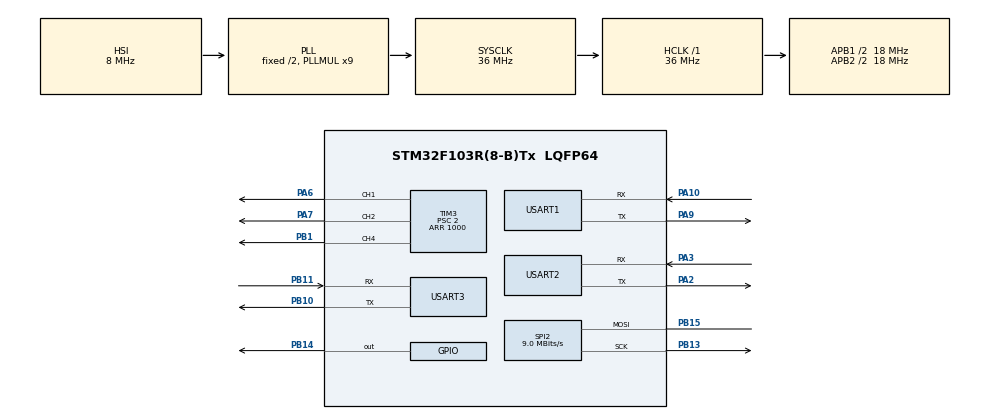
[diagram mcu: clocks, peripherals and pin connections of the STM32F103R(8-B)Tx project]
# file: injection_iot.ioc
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Mcu.Family=STM32F1
Mcu.Name=STM32F103R(8-B)Tx
Mcu.Package=LQFP64
NVIC.PriorityGroup=NVIC_PRIORITYGROUP_4
NVIC.TIM1_CC_IRQn=true\:0\:0\:false\:false\:true\:true
NVIC.TIM2_IRQn=true\:0\:0\:false\:false\:true\:true
NVIC.USART1_IRQn=true\:0\:0\:false\:false\:true\:true
NVIC.USART2_IRQn=true\:0\:0\:false\:false\:true\:true
NVIC.USART3_IRQn=true\:0\:0\:false\:false\:true\:true
PA10.Mode=Asynchronous
PA10.Signal=USART1_RX
PA2.Mode=Asynchronous
PA2.Signal=USART2_TX
PA3.Mode=Asynchronous
PA3.Signal=USART2_RX
PA6.Signal=S_TIM3_CH1
PA7.Signal=S_TIM3_CH2
PA9.Mode=Asynchronous
PA9.Signal=USART1_TX
PB1.Signal=S_TIM3_CH4
PB10.Mode=Asynchronous
PB10.Signal=USART3_TX
PB11.Mode=Asynchronous
PB11.Signal=USART3_RX
PB13.Mode=Simplex_Bidirectional_Master
PB13.Signal=SPI2_SCK
PB14.Signal=GPIO_Output
PB15.Mode=Simplex_Bidirectional_Master
PB15.Signal=SPI2_MOSI
PD0-OSC_IN.Mode=HSE-External-Oscillator
PD0-OSC_IN.Signal=RCC_OSC_IN
PD1-OSC_OUT.Mode=HSE-External-Oscillator
PD1-OSC_OUT.Signal=RCC_OSC_OUT
ProjectManager.HeapSize=0x200
ProjectManager.StackSize=0x400
ProjectManager.TargetToolchain=SW4STM32
RCC.AHBFreq_Value=36000000
RCC.APB1CLKDivider=RCC_HCLK_DIV2
RCC.APB1Freq_Value=18000000
RCC.APB1TimFreq_Value=36000000
RCC.APB2CLKDivider=RCC_HCLK_DIV2
RCC.APB2Freq_Value=18000000
RCC.APB2TimFreq_Value=36000000
RCC.HCLKFreq_Value=36000000
RCC.PLLMUL=RCC_PLL_MUL9
RCC.SYSCLKFreq_VALUE=36000000
RCC.SYSCLKSource=RCC_SYSCLKSOURCE_PLLCLK
RCC.USBFreq_Value=36000000
SH.S_TIM3_CH1.0=TIM3_CH1,PWM Generation1 CH1
SH.S_TIM3_CH2.0=TIM3_CH2,PWM Generation2 CH2
SH.S_TIM3_CH4.0=TIM3_CH4,PWM Generation4 CH4
SPI2.CalculateBaudRate=9.0 MBits/s
SPI2.Direction=SPI_DIRECTION_1LINE
SPI2.Mode=SPI_MODE_MASTER
SPI2.VirtualType=VM_MASTER
TIM1.Channel-Output\ Compare1\ No\ Output=TIM_CHANNEL_1
TIM1.Period=1000
TIM1.Prescaler=8000
TIM1.Pulse-Output\ Compare1\ No\ Output=500
TIM2.Channel-Output\ Compare1\ No\ Output=TIM_CHANNEL_1
TIM2.Period=1000
TIM2.Prescaler=8000
TIM2.Pulse-Output\ Compare1\ No\ Output=250
TIM3.Channel-PWM\ Generation1\ CH1=TIM_CHANNEL_1
TIM3.Channel-PWM\ Generation2\ CH2=TIM_CHANNEL_2
TIM3.Channel-PWM\ Generation3\ No\ Output=TIM_CHANNEL_3
TIM3.Channel-PWM\ Generation4\ CH4=TIM_CHANNEL_4
TIM3.Period=1000
TIM3.Prescaler=2
TIM3.Pulse-PWM\ Generation1\ CH1=250
TIM3.Pulse-PWM\ Generation2\ CH2=500
TIM3.Pulse-PWM\ Generation3\ No\ Output=100
TIM3.Pulse-PWM\ Generation4\ CH4=750
USART1.VirtualMode=VM_ASYNC
USART2.VirtualMode=VM_ASYNC
USART3.VirtualMode=VM_ASYNC
VP_SYS_VS_ND.Mode=No_Debug
VP_TIM1_VS_ClockSourceINT.Mode=Internal
VP_TIM1_VS_no_output1.Mode=Output Compare1 No Output
VP_TIM2_VS_ClockSourceINT.Mode=Internal
VP_TIM2_VS_no_output1.Mode=Output Compare1 No Output
VP_TIM3_VS_ClockSourceINT.Mode=Internal
VP_TIM3_VS_no_output3.Mode=PWM Generation3 No Output
board=custom

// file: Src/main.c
/**
 ******************************************************************************
 * @file           : main.c
 * @brief          : Main program body
 ******************************************************************************
 ** This notice applies to any and all portions of this file
 * that are not between comment pairs USER CODE BEGIN and
 * USER CODE END. Other portions of this file, whether
 * inserted by the user or by software development tools
 * are owned by their respective copyright owners.
 *
 * COPYRIGHT(c) 2018 STMicroelectronics
 *
 * Redistribution and use in source and binary forms, with or without modification,
 * are permitted provided that the following conditions are met:
 *   1. Redistributions of source code must retain the above copyright notice,
 *      this list of conditions and the following disclaimer.
 *   2. Redistributions in binary form must reproduce the above copyright notice,
 *      this list of conditions and the following disclaimer in the documentation
 *      and/or other materials provided with the distribution.
 *   3. Neither the name of STMicroelectronics nor the names of its contributors
 *      may be used to endorse or promote products derived from this software
 *      without specific prior written permission.
 *
 * THIS SOFTWARE IS PROVIDED BY THE COPYRIGHT HOLDERS AND CONTRIBUTORS "AS IS"
 * AND ANY EXPRESS OR IMPLIED WARRANTIES, INCLUDING, BUT NOT LIMITED TO, THE
 * IMPLIED WARRANTIES OF MERCHANTABILITY AND FITNESS FOR A PARTICULAR PURPOSE ARE
 * DISCLAIMED. IN NO EVENT SHALL THE COPYRIGHT HOLDER OR CONTRIBUTORS BE LIABLE
 * FOR ANY DIRECT, INDIRECT, INCIDENTAL, SPECIAL, EXEMPLARY, OR CONSEQUENTIAL
 * DAMAGES (INCLUDING, BUT NOT LIMITED TO, PROCUREMENT OF SUBSTITUTE GOODS OR
 * SERVICES; LOSS OF USE, DATA, OR PROFITS; OR BUSINESS INTERRUPTION) HOWEVER
 * CAUSED AND ON ANY THEORY OF LIABILITY, WHETHER IN CONTRACT, STRICT LIABILITY,
 * OR TORT (INCLUDING NEGLIGENCE OR OTHERWISE) ARISING IN ANY WAY OUT OF THE USE
 * OF THIS SOFTWARE, EVEN IF ADVISED OF THE POSSIBILITY OF SUCH DAMAGE.
 *
 ******************************************************************************
 */
#include "main.h"
#include "colormonitor.h"

#include "GlabalVar.h"
#include "stm32f1xx_hal.h"
#include "stm32f10x_type.h"
#include "ADS7816.h"
#include "Termo.h"
#include "stdio.h"

/* USER CODE BEGIN PV */
/* Private variables ---------------------------------------------------------*/
ErrorStatus HSEStartUpStatus;
u16 VarValue = 0;
//hal FLASH_Status FlashStatus;

/* Virtual address defined by the user: 0xFFFF value is prohibited */
//hal u16 VirtAddVarTab[NumbOfVar] = { 0x5555, 0x6666, 0x7777 };
unsigned char cun2, kd = 20, mmc_command = 0, mmc_respond, tempcommand;
unsigned long int hpriod;
unsigned long int avrage[6], tempreture[5];

unsigned char echostring[100];
unsigned int variable[10], recive, lowr, b0, b1, b2, b3, b4, b5, ruler2, in[8],
timebase, passcun;
unsigned char cul, row, keycode, s, number, oldpage, line, id[3], id_counter,
timediv, chanel;
bool lockkey, lockkey1, keypress, refresh, numberchange, action, automode,

finish, timeflag, autokey2, refresh2, ehteyatkey = 0, semiauto2, auto3,
mmc_key_active;
char temprecive, imagekey, timefull, hitreal, keywait,keycodelog;
unsigned char perv1, perv2, perv3, perv4, perv5, perv6, perv7, perv8, perv9,
perv10, perv11, perv12, perv13, perv14, perv19;
unsigned char speedehteyat, speedv1, speedv2, speedv3, speedv4, speedv5,

speedv6, speedv7, speedv8, speedv9, speedv10, speedv11, speedv12, speedv13,
speedv14, speedv19, timemax;
unsigned int ruler3p1, ruler3p2, ruler3p3, ruler3p4, ruler1p7, ruler1p4,

ruler1p5, ruler1p6, ruler2p4, ritime1, ritime2, ritime3, oiltime, totaltime,
timep, tedad;
unsigned char delay1, delay2, delay3, delay4, delay5, wait, pnum, timer1,
s4051 = 0, c4051 = 3;
bool silehteyat, mkeshact, pbri, pmri, pbri1, pmri1, mode, pepm1, pepm,

hightemp, timestart, govein, goveout, darbaz, darbasteh, auto4, fffk, numin;
/*flash*/unsigned char cyclea[] = { 14, 8, 1, 2, 3, 10, 9, 0, 11, 5, 6, 12, 4,
		6, 14, 7, 15 };
unsigned char reccun, ristate, bristate, i3old, oldlgr, oldlgf, yekst, tempp;
unsigned char rx_wr_index, rx_rd_index, rx_counter, outputa = 0, outputb = 0,
		outputc = 0, read1, read2, read3, speed, per, color_refresh;
int alaki2, errorc;
// This flag is set on USART Receiver buffer overflow
int rx_buffer_overflow, systemonleft, systemonright, beepcounter;
bool pmc, pmc1, pmo, pmo1, puf1, puf = 0, pub = 0, pub1, pgb = 0, pgb1, peb1,
		peb = 0, pef1, pef = 0, pco1, pco, pci1, pci = 0, rollswitch = 0,
		cycleex, mavad2, tempr1, oldi8;
int page, waitfortemp = 100, timer, timer2, hitok, ritime;
unsigned int ruler1, ruler1a, ruler3;
unsigned long int temptemp;

unsigned int secend, ruler1p2, ruler1p3, ruler1p1, ruler1m, ruler2m, ruler3m,
ruler2p1, ruler2p2, ruler2p3, oiltemp, delaycun;
unsigned char secbase, n, j, d2, memseg = 10, errorcode = 0, staten, oilnumber =
		0;
int z, x, y, x1, y1, m, v1 = 50, k, a, q, u, t, c, x1line = 15, x2line = 30,
		y1line = 16, y2line = 32, line2, conter;
unsigned long int temp;
unsigned char led, state, state2, delaytaghe;
bool temp111, pri1, pri, automatic, semiauto, protection, offbit, moto, oil,

hitteron, autokey, lock, lock1, hit1ok, hit2ok, hit3ok, hit4ok, hit5ok, lowtemp,
oilcycle, refresh3;
char soundf;

unsigned char outon[6], hss[] = { 10, 5, 1, 1, 1 }, selz[] = { 99, 85, 80, 60 },
		zone;
unsigned int add[] = { 5, 2, 5, 2, 1 }, mmc, mmcflag, justtest;
unsigned long int aaa;
unsigned long int hz[] = { 75, 80, 99, 100 };
unsigned int var[15][9], tempgo;
unsigned char sound[1][1], kvar, kflag, speed2, kkkk = 200;
//=========================================end of variables====================
//========================================constant variable====================

/*flash*/unsigned int dc[] = { 0, 0, 21, 21, 14, 12, 17, 12, 18, 18, 20, 10, 6,
		6, 5, 2 };

//========================================eeprom variables=====
/* eeprom*/unsigned long int maxcomponent;
/* eeprom*/unsigned long int t1cul, t2cul, t3cul, t4cul, t5cul;
/* eeprom*/int pass1, pass2, pass3, passtry, lock2;
/* eeprom*/int lockpos = 150, molpos = 170, s2pos = 250, s1pos = 700, limitrmo =
		800;
/* eeprom*/unsigned char lockspeed = 60, lockpre = 80, molprop = 60, molpros =
		120, s2 = 70, p2 = 60, s1 = 120, p1 = 60;
/* eeprom*/unsigned char memvar[132][24];
/* eeprom*/unsigned int maxruler1 = 255, maxruler2 = 300, maxruler3 = 300,
		marrid, whour = 100, ccunter;
/* eeprom*/unsigned int hour, hour1;

/*eeprom */unsigned int var2[16][22];

//=========================eeprom emoulation================================
u32 var_page_address;
u32 var_next_address;
u16 var2i = 16, var2j = 22;
u32 addresspage = 0x08010000; // start address of variable page address oft
//u32 addresspage=0x08011800;// start address of variable page address

char command[30], command_index = 0;
char beep;

int usart_buffer_index;
u8 usart_buffer[usart_buffer_size];

int RS485_buffer_index;
char RS485_buffer[RS485_buffer_size];

int Value;

char tempasd[70];
/* USER CODE END PV */

void SystemClock_Config(void);
static void MX_GPIO_Init(void);
static void MX_USART1_UART_Init(void);
static void MX_USART2_UART_Init(void);
static void MX_USART3_UART_Init(void);
static void MX_SPI2_Init(void);
static void MX_TIM3_Init(void);
static void MX_TIM1_Init(void);
static void MX_TIM2_Init(void);

void HAL_TIM_MspPostInit(TIM_HandleTypeDef *htim);

/* USER CODE BEGIN PFP */
/* Private function prototypes -----------------------------------------------*/

/* USER CODE END PFP */

int main(void) {
	/* USER CODE BEGIN 1 */
	int mADS;
	char h_mADS,l_mADS;
	uint16_t temp1,temp2,temp3;

#define localecho 1
	int gosfand;
	int alaki, i3i;
	char memactive;
	/*st float */float cul1, var1, var2a, cul;
	int kkkk = 200, i;

	char out1[2] ={0x55,0x55};
	char out2[2] ={0xaa,0xaa};

	char tempasd[30];
	u16 stt;
	u32 Address = 0x0801040f;
	/* USER CODE END 1 */

	/* MCU Configuration----------------------------------------------------------*/

	/* Reset of all peripherals, Initializes the Flash interface and the Systick. */
	HAL_Init();

	/* Configure the system clock */
	SystemClock_Config();

	/* Initialize all configured peripherals*/
	MX_GPIO_Init();
	MX_USART1_UART_Init();
	MX_USART2_UART_Init();
	MX_USART3_UART_Init();

	MX_TIM3_Init();
	MX_TIM1_Init();
	MX_TIM2_Init();
	/* USER CODE BEGIN 2*/
	Init_ADS7816();
	Init_Termo();
	HAL_TIM_Base_Start(&htim1);

	HAL_TIM_PWM_Start(&htim3, TIM_CHANNEL_1);
	HAL_TIM_PWM_Start(&htim3, TIM_CHANNEL_2);
	HAL_TIM_PWM_Start(&htim3, TIM_CHANNEL_4);
	HAL_TIM_Base_Start_IT(&htim1);
	HAL_TIM_Base_Start_IT(&htim2);

	jtag_Disable();

	__HAL_UART_ENABLE_IT(&huart1, UART_IT_RXNE);
	__HAL_UART_ENABLE_IT(&huart2, UART_IT_RXNE);
	__HAL_UART_ENABLE_IT(&huart2, UART_IT_TXE);
	MX_SPI2_Init();
//__HAL_uart_enable
//while(1){
    	// USART1->DR=55;
    	// HAL_Delay(500);

  //   }
	stt = 23;

	//send_string("br9600 delay\n");
	Value = 0;
	//halmemload();
	//FLASH_Unlock();

	goto ii;
	//oftsend_string("step1\n");
	//oft	FLASH_ProgramHalfWord((Address), 0xff0f);
	//FlashStatus = FLASH_ProgramHalfWord(Address + 2, VirtAddress);
	//oftsend_string("step2\n");
	//oft	stt = (*(vu16*)(Address));
	sprintf(tempasd, "\n%x", stt);

	send_string(tempasd);

	//oft	FLASH_ErasePage(Address+1);

	//oft	stt = (*(vu16*)(Address));
	sprintf(tempasd, "\n%x", stt);

	send_string(tempasd);
	ii:

	setChannel_Termo(0);
	HAL_Delay(220);
	temp1 = read_Temp();

	setChannel_Termo(1);
	HAL_Delay(220);
	temp2 = read_Temp();
 sprintf(tempasd,"termo:%c%d   %c%d\r\n",9,temp1,9,temp2);
	HAL_UART_Transmit(&huart1,tempasd,30, 500);

	mADS =read_ADS7816S(2);
	l_mADS = mADS & 0xff;
	h_mADS = mADS/256;
	sprintf(tempasd,"ruller: %x,%x\r\n",h_mADS,l_mADS);
	HAL_UART_Transmit(&huart1,tempasd, 10, 100);
	HAL_Delay(1000);

	HAL_TIM_PWM_Start(&htim3,TIM_CHANNEL_1);
	HAL_TIM_PWM_Start(&htim3,TIM_CHANNEL_2);
	HAL_TIM_PWM_Start(&htim3,TIM_CHANNEL_4);

		HAL_SPI_Transmit(&hspi2, out1, 2, 100);
		HAL_GPIO_WritePin(GPIOB, GPIO_PIN_14, GPIO_PIN_SET);
		HAL_Delay(1);
		HAL_GPIO_WritePin(GPIOB, GPIO_PIN_14, GPIO_PIN_RESET);
		HAL_Delay(500);
		HAL_SPI_Transmit(&hspi2, out2, 2, 100);
		HAL_GPIO_WritePin(GPIOB, GPIO_PIN_14, GPIO_PIN_SET);
		HAL_Delay(1);
		HAL_GPIO_WritePin(GPIOB, GPIO_PIN_14, GPIO_PIN_RESET);
		HAL_Delay(500);

	send_string("ver1.20180913.0.0");

    for(i=0;i<100;i++)
    {

	echo"\ndata at 1st page is :%x",*(vu16*)(addresspage),*(vu16*)(addresspage+(i*2)));
	sendecho;
     }
	/*
	 delay_ms(400);
	 int imehdi;

	 for(imehdi=0;imehdi<250;imehdi++){inc();delay_ms(10);
	 echo"imehdi :%d",imehdi);
	 sendecho;

	 }*/
	//vartomem();
	//for(stt=0;stt<280;stt++){update_var(stt,5);}
	// *ReadData = (*(vu16*)(Address - 2));
	//memload();
	//for(stt=0;stt<122;stt++){update_var(0,stt);}
	//while(1);
	//st cs=0;
	//st   UDR0=0;
	if (maxcomponent != 0)
		maxcomponent = 0;
	page = 0;
	alaki = 2000;
	write_ppi(0x80, 0x33);
	write_ppi(0x55, 0x30);
	write_ppi(0x0, 0x31);
	write_ppi(0xff, 0x32);
	write_ppi(0x9b, 0x03);	//initialize ppi for all port is input
	write_ppi(0, 0x60);
	write_ppi(0, 0x61);
	write_ppi(outputa, 0x30);
	write_ppi(outputb, 0x31);
	write_ppi(outputc, 0x32);

	imagekey = 255;
	semiauto = 0;
	calibration();
	oldpage = 1;
	page = 0;
	if (marrid != 1) {
		marrid = 1;
		//hal //st defalt();
	}
	temp = pass3 ^ 0xa55;
	mode = 0;
	oil = 0;
	alaki2 = 30;
	cun2 = 50;

	ftable();
	memactive = 1;
	oilnumber = 0;
	oilcycle = 1;
	oiltime = 0;
	if (pass1 == 3333)
		lock = 1;
	//oil = oil;
	protection = 1;
	semiauto = 0;
	automatic = 0;
	moto = 0;
	hitteron = 0;
	if (!i19)
		errorcode = 18;
	//oil = oil;
	protection = 1;
	semiauto = 0;
	automatic = 0;
	if (!i19)
		errorcode = 18;

	colorm();
	//while(1){RelayToggle1 RelayToggle delay_ms(10);}
	//farzin sendchar2('a');

	//DACDATA_HIGH ;delay_ms(50); DACDATA_LOW;delay_ms(20);}
	/* USER CODE END 2 */

	/* Infinite loop */
	while (1) {
		if (mmc_key_active && memactive) {
			// mmc_key_active=0;
			// if(comp_calibrate(0)!=100)save_calibrate(0);
			// if(comp_to_mmc(0)!=100)save_to_mmc(0);

			if (mmc_command == SAVE_TO_MMC) {
				//      mmc_respond=save_to_mmc(temp);
				//     if(mmc_respond){if(mmc_respond==2)var2[9][9]=3100;else var2[9][9]=3101;mmc_command=0;temp=0;}
				//       else {mmc_command=0;if(temp>1000)temp-=1000;var2[9][9]=temp;temp=0;}
				//       var2[9][9]=temp;
				//     mmc_command=0;
				//  temp=0;
			}
			if (mmc_command == LOAD_TO_MMC) {
				// mmc_respond=load_from_mmc(temp);
				// if(mmc_respond)var2[9][8]=3100+mmc_respond;else {var2[9][8]=temp;temp=0;}
				// mmc_command=0;
				// mmc_command=0;
				// var2[9][8]=temp;
				// `temp=0;

			}

		}

		if (var2[7][16] != oil)
			var2[7][16] = oil;
		if (maxcomponent > 120000)
			maxcomponent = 0;
		if (!i8) {
			if (errorc < 210)
				errorc++;

		} else
			errorc = 0;
		if (errorc > 200)
			errorcode = 6;

		if (page) {
			if (page != 9)
				if (temp > 999) {
					if (page != 11)
						temp = 0;
					if (!lockkey && !lockkey1)
						monitorn();
				}

		}

		/*     if(readflag>0){
		 if(kflag==1)
		 {
		 kflag=0;
		 SPCR|=0x50;
		 sendmmc(blocknumber);
		 blocknumber+=512;
		 //    if(blocknumber>=(firstblock[0]+(dx)))blocknumber=firstblock[0];
		 }
		 if(blocknumber>firstblock[0]+(readflag)*dx){readflag=0;TCCR0=0x00;}
		 }

		 */
		if (page == 13 || page == 14)
			if (!lockkey && !lockkey1)
				monitorn();
		if (keycode == 20 || keycode == 28)
			if (lockkey)
				if (keywait) {
					keywait--;
					if (!keywait)
						lockkey = 0;
				}
		if (page == 2 || page == 3) {

			putdigit_xy_space(23, 3, ruler1m, 0, 4);

		}
		if (page == 5) {
			putdigit_xy_space(23, 3, ruler2m, 0, 4);

		}
		if (page == 6) {

			putdigit_xy_space(23, 3, ruler2m, 0, 4);
		}
		if (!page) {

			putdigit_xy_space(1, 6, per, 0, 2);
			putdigit_xy_space(8, 6, speed, 0, 2);
			if (state2 == 4 || state2 == 3 || state2 == 5)
				putdigit_xy(1, 37, ritime, 1);

			else if (state2 == 14)
				putdigit_xy(1, 37, timefull, 0);
			else
				putdigit_xy(1, 37, timer, 1);

			putdigit_xy_space(1, 20, ruler1m, 0, 3);
			putdigit_xy_space(16, 20, ruler2m, 0, 3);
			putdigit_xy_space(16, 37, timemax, 1, 3);

			if (errorcode && !page)
				showpic_xy(errorcode, 0, 0);
			//if(temp)showpic_xy(temp,0,0);
			else if (state2 == 8 && timer) {
			} else {
				if (state2 && !page && state2 < 14) {
					showpic_xy(25 + state2, 15, 0);
					if (state2 == 4 && memseg < 4)
						putdigit_xy(20, 6, memseg, 0);
				}
			}

		}

		if (oil)
			state2 = 0;
		if (protection && !lockkey && state2) {
			state2 = 0;
			monitorn();
		}
		gosfand = var2[3][0] * 10;
		if (state == 5 && ritime > gosfand && !mavad2) {
			errorcode = 13;
			speed = 0;
			per = 0;
			pbri1 = 0;
			clrout6;
			clrout3;
			clrout17;

			//           protection=0;semiauto=0;automatic=0;oil=1; }
		}

		if (fffk) {

			if (!LGR && oldlgr) {
				if (var[9][8])
					if (semiauto || automatic) {
						auto4 = 1;
						fffk = 0;
					}
				oldlgr = LGR;
			} else
				oldlgr = LGR;
			if (!LGF && oldlgf) {
				if (var[9][7])
					if (semiauto || automatic) {
						auto4 = 1;
						fffk = 0;
					}
				oldlgf = LGF;
			} else
				oldlgf = LGF;
		} else {
			oldlgr = LGR;
			oldlgf = LGF;

		}

		if (!state) {
			if (auto4) {
				auto4 = 0;
				auto3 = 1;
			}

		}

		rollswitch = 0;
		if (!rollswitch) {
			//       ruler2=in[1];
			//     ruler1=in[0];
		} else {
			if (!LMO) {
				ruler1a = 1023;
			} else {
				if (!LMC) {
					ruler1a = 0;
				} else
					ruler1a = var[1][5] + 1;
			}
			if (outputa & 1)	  //gire basteh
			{
				// if(ruler1=var[0][2]+1;
				if (!i2)
					ruler1a = ruler1p1 - 1;
				if (i3old && !i3)
					ruler1a = ruler1p2 - 1;  //labeyetahriki3
				if (!i3old && i3)
					ruler1a = ruler1p3 - 1;
				//        i3old=i3;

			} else if (output & 2) {
				if (!i5)
					ruler1a = ruler1p5 - 1;
				if (!i4)
					ruler1a = ruler1p6 + 1;

			}
			//ruler1=ruler1a;  movaghat

			i3old = i3;

		}

		passcun++;
		if (passcun == 9999)
			passcun = 0;
		cul = maxruler1 + 1;
		var2a = (cul / 1023) * ruler1;

		ruler1m = var2a;

		cul = maxruler3 + 1;
		var2a = (cul / 1023) * ruler3;

		ruler3m = var2a;

		cul = maxruler2 + 1;
		var2a = (cul / 1023) * ruler2;

		ruler2m = var2a;
		// speed=speedv1;
		// per=perv1;

		if (!lockkey)
			hitreal = 0;
		// if(!timer && !finish){timer=10; finish=1;}

		//error sathroghan
		if (!i21)
			clrout24;
		if (!i19) {
			moto = 0;
			if (automatic || semiauto) {
				automatic = 0;
				semiauto = 0;
				errorcode = 18;
			}
		}
		//roghankari
		if (oilcycle) {
			if (oiltime > var[9][1] * 10) {
				clrout19;
				oilcycle = 0;
			} else
				setout19;
		} else
			clrout19;
		if (oilnumber == var[9][0]) {
			oilnumber = 0;
			oilcycle = 1;
			oiltime = 0;
		}
		//ghateshomar
		if (ccunter > var[9][3]) {
			if (oil)
				errorcode = 21;
		}
		//full auto
		if (i24 && (automatic || semiauto)) {
			automatic = 0;
			semiauto = 0;
			protection = 1;
		}
		//saat kar
		if (secbase >= 10) {
			//                              if(!beepcounter)beep=0;else beepcounter--;

			if (!i24)
				secend++;
			secbase = 0;
			if (state == 14)
				timefull++;
			else
				timefull = 0;
			//                            monitorn();
			//                              monitorn();
			//  if(statetotaltime
			if (errorcode) {
				beep = 1;
				beepcounter = 40;
			}

			if (secend == 3600) {
				secend = 0;

				hour++;
				hour1++;
				if (!lock2)
					maxcomponent += 12;

				// var[9][5]++;
				// tempgo=var2[4][9];
				if (hour == var2[9][5]) {
					errorcode = 19;
					protection = 0;
					semiauto = 0;
					automatic = 0;
					//oil = oil;
				}
				if (hour > var2[9][4])
					hour = 0;

			}
		}

		if (hour == var2[9][4] && oil)
			errorcode = 19;
		//   khataye taviz roghan
		if (automatic)
			semiauto = 1;
		if (auto3) {
			if (semiauto && !automatic) {
				semiauto2 = 1;
				auto3 = 0;
				finish = 1;
				state = 0;
				lockkey1 = 0;
				timer = 0;
			}

		}
		if (!automatic && !semiauto)
			auto3 = 0;
		/*  if(auto3 )
		 {

		 if(automatic)
		 {semiauto2=1;}
		 else
		 if(semiauto){semiauto2=1;auto3=0;}
		 else
		 auto3=0;
		 }
		 */
		if (!semiauto)
			semiauto2 = 0;
		if (alaki2 < 0) {
			if (hitteron)
				tempctl();	                               //st else PORTE=0xff;
			alaki2 = 100;
			avrage[0] += in[3];
			avrage[1] += in[4];
			avrage[2] += in[5];
			avrage[3] += in[6];
			avrage[4] += in[7];

			if (!cun2--) {
				if (page == 0 && !lockkey && !lockkey1)
					monitorn();
				cun2 = 50;
			}

			calibration();
			tempreture[0] = (avrage[0]/*st/50*/) + t1cul - 200;
			if (tempreture[0] > 1500)
				tempreture[0] = 0;
			tempreture[1] = (avrage[1]/*st/50*/) + t2cul - 200;
			if (tempreture[1] > 1500)
				tempreture[1] = 0;
			tempreture[2] = (avrage[2]/*/50*/) + t3cul - 200;
			if (tempreture[2] > 1500)
				tempreture[2] = 0;
			tempreture[3] = (avrage[3]/*/50*/) + t4cul - 200;
			if (tempreture[3] > 1500)
				tempreture[3] = 0;
			tempreture[4] = (avrage[4]/*/50*/) + t5cul - 200;// st as sampleing speed is too slow
			if (tempreture[4] > 1500)
				tempreture[4] = 0;
			avrage[0] = 0;
			avrage[1] = 0;
			avrage[2] = 0;
			avrage[3] = 0;
			avrage[4] = 0;
			//oft if(page==0 && !lockkey && !lockkey1) monitorn();
			//

		}

		alaki--;
		if (protection || oil)
			if (!lockkey && errorcode) {
				errorcode = 0;
				monitorn();
			}
		if (!alaki) {

			alaki = 501;
			temprecive = 5;
			if (page == 0)
				refresh = 1;

		}

		// if(keypress)
		//            {refresh=1;keypross();monitorn();keypress=0;    if(protection )if(!lockkey)errorcode=0;  ftable();}

		//if(keypress)
		//            {refresh=1;keypross();monitorn();keypress=0;    if(protection )if(!lockkey)errorcode=0;  ftable();}

		if (automode)
			statecontroll();

		cycleex = 1;
		cycle();
		cycleex = 0;

		led = automatic * 4 + 8 * semiauto + 128 * moto + oil * 2
				+ protection * 32 + hitteron * 64 + ehteyatkey * 16
				+ ehteyatkey;
		if (page)
			limit();
		if (refresh) {
			monitorn();
			refresh = 0;
		} else
			controll();

		if (refresh2 && !page) {
			refresh2 = 0;
			if (!lockkey && !lockkey1)
				monitorn();
		}

		if (refresh3) {
			monitorn();
			refresh3 = 0;
			ftable();
			calibration();
		}

		//PWR_EnterSleepMode();

		//hal delay_ms(1000);
	}

}

void SystemClock_Config(void) {

	RCC_OscInitTypeDef RCC_OscInitStruct;
	RCC_ClkInitTypeDef RCC_ClkInitStruct;

	/**Initializes the CPU, AHB and APB busses clocks
	 */
	RCC_OscInitStruct.OscillatorType = RCC_OSCILLATORTYPE_HSI;
	RCC_OscInitStruct.HSIState = RCC_HSI_ON;
	RCC_OscInitStruct.HSICalibrationValue = 16;
	RCC_OscInitStruct.PLL.PLLState = RCC_PLL_ON;
	RCC_OscInitStruct.PLL.PLLSource = RCC_PLLSOURCE_HSI_DIV2;
	RCC_OscInitStruct.PLL.PLLMUL = RCC_PLL_MUL9;
	if (HAL_RCC_OscConfig(&RCC_OscInitStruct) != HAL_OK) {
		_Error_Handler(__FILE__, __LINE__);
	}

	/**Initializes the CPU, AHB and APB busses clocks
	 */
	RCC_ClkInitStruct.ClockType = RCC_CLOCKTYPE_HCLK | RCC_CLOCKTYPE_SYSCLK
			| RCC_CLOCKTYPE_PCLK1 | RCC_CLOCKTYPE_PCLK2;
	RCC_ClkInitStruct.SYSCLKSource = RCC_SYSCLKSOURCE_PLLCLK;
	RCC_ClkInitStruct.AHBCLKDivider = RCC_SYSCLK_DIV1;
	RCC_ClkInitStruct.APB1CLKDivider = RCC_HCLK_DIV2;
	RCC_ClkInitStruct.APB2CLKDivider = RCC_HCLK_DIV2;

	if (HAL_RCC_ClockConfig(&RCC_ClkInitStruct, FLASH_LATENCY_1) != HAL_OK) {
		_Error_Handler(__FILE__, __LINE__);
	}

	/**Configure the Systick interrupt time
	 */
	HAL_SYSTICK_Config(HAL_RCC_GetHCLKFreq() / 1000);

	/**Configure the Systick
	 */
	HAL_SYSTICK_CLKSourceConfig(SYSTICK_CLKSOURCE_HCLK);

	/* SysTick_IRQn interrupt configuration */
	HAL_NVIC_SetPriority(SysTick_IRQn, 0, 0);
}

/* SPI2 init function */
static void MX_SPI2_Init(void) {

	/* SPI2 parameter configuration*/
	hspi2.Instance = SPI2;
	hspi2.Init.Mode = SPI_MODE_MASTER;
	hspi2.Init.Direction = SPI_DIRECTION_1LINE;
	hspi2.Init.DataSize = SPI_DATASIZE_8BIT;
	hspi2.Init.CLKPolarity = SPI_POLARITY_LOW;
	hspi2.Init.CLKPhase = SPI_PHASE_1EDGE;
	hspi2.Init.NSS = SPI_NSS_SOFT;
	hspi2.Init.BaudRatePrescaler = SPI_BAUDRATEPRESCALER_2;
	hspi2.Init.FirstBit = SPI_FIRSTBIT_MSB;
	hspi2.Init.TIMode = SPI_TIMODE_DISABLE;
	hspi2.Init.CRCCalculation = SPI_CRCCALCULATION_DISABLE;
	hspi2.Init.CRCPolynomial = 10;
	if (HAL_SPI_Init(&hspi2) != HAL_OK) {
		_Error_Handler(__FILE__, __LINE__);
	}

}

/* TIM1 init function */
static void MX_TIM1_Init(void) {

	TIM_ClockConfigTypeDef sClockSourceConfig;
	TIM_MasterConfigTypeDef sMasterConfig;
	TIM_OC_InitTypeDef sConfigOC;
	TIM_BreakDeadTimeConfigTypeDef sBreakDeadTimeConfig;

	htim1.Instance = TIM1;
	htim1.Init.Prescaler = 8000;
	htim1.Init.CounterMode = TIM_COUNTERMODE_UP;
	htim1.Init.Period = 1000;
	htim1.Init.ClockDivision = TIM_CLOCKDIVISION_DIV1;
	htim1.Init.RepetitionCounter =0;
	htim1.Init.AutoReloadPreload = TIM_AUTORELOAD_PRELOAD_DISABLE;
	if (HAL_TIM_Base_Init(&htim1) != HAL_OK) {
		_Error_Handler(__FILE__, __LINE__);
	}

	sClockSourceConfig.ClockSource = TIM_CLOCKSOURCE_INTERNAL;
	if (HAL_TIM_ConfigClockSource(&htim1, &sClockSourceConfig) != HAL_OK) {
		_Error_Handler(__FILE__, __LINE__);
	}

	if (HAL_TIM_OC_Init(&htim1) != HAL_OK) {
		_Error_Handler(__FILE__, __LINE__);
	}

	sMasterConfig.MasterOutputTrigger = TIM_TRGO_RESET;
	sMasterConfig.MasterSlaveMode = TIM_MASTERSLAVEMODE_DISABLE;
	if (HAL_TIMEx_MasterConfigSynchronization(&htim1, &sMasterConfig)
			!= HAL_OK) {
		_Error_Handler(__FILE__, __LINE__);
	}

	sConfigOC.OCMode = TIM_OCMODE_TIMING;
	sConfigOC.Pulse = 500;
	sConfigOC.OCPolarity = TIM_OCPOLARITY_HIGH;
	sConfigOC.OCNPolarity = TIM_OCNPOLARITY_HIGH;
	sConfigOC.OCFastMode = TIM_OCFAST_DISABLE;
	sConfigOC.OCIdleState = TIM_OCIDLESTATE_RESET;
	sConfigOC.OCNIdleState = TIM_OCNIDLESTATE_RESET;
	if (HAL_TIM_OC_ConfigChannel(&htim1, &sConfigOC, TIM_CHANNEL_1) != HAL_OK) {
		_Error_Handler(__FILE__, __LINE__);
	}

	sBreakDeadTimeConfig.OffStateRunMode = TIM_OSSR_DISABLE;
	sBreakDeadTimeConfig.OffStateIDLEMode = TIM_OSSI_DISABLE;
	sBreakDeadTimeConfig.LockLevel = TIM_LOCKLEVEL_OFF;
	sBreakDeadTimeConfig.DeadTime = 0;
	sBreakDeadTimeConfig.BreakState = TIM_BREAK_DISABLE;
	sBreakDeadTimeConfig.BreakPolarity = TIM_BREAKPOLARITY_HIGH;
	sBreakDeadTimeConfig.AutomaticOutput = TIM_AUTOMATICOUTPUT_DISABLE;
	if (HAL_TIMEx_ConfigBreakDeadTime(&htim1, &sBreakDeadTimeConfig)
			!= HAL_OK) {
		_Error_Handler(__FILE__, __LINE__);
	}

}

/* TIM2 init function */
static void MX_TIM2_Init(void) {

	TIM_ClockConfigTypeDef sClockSourceConfig;
	TIM_MasterConfigTypeDef sMasterConfig;
	TIM_OC_InitTypeDef sConfigOC;

	htim2.Instance = TIM2;
	htim2.Init.Prescaler = 8000;
	htim2.Init.CounterMode = TIM_COUNTERMODE_UP;
	htim2.Init.Period = 45;
	htim2.Init.ClockDivision = TIM_CLOCKDIVISION_DIV1;
	htim2.Init.AutoReloadPreload = TIM_AUTORELOAD_PRELOAD_ENABLE;
	if (HAL_TIM_Base_Init(&htim2) != HAL_OK) {
		_Error_Handler(__FILE__, __LINE__);
	}

	sClockSourceConfig.ClockSource = TIM_CLOCKSOURCE_INTERNAL;
	if (HAL_TIM_ConfigClockSource(&htim2, &sClockSourceConfig) != HAL_OK) {
		_Error_Handler(__FILE__, __LINE__);
	}

	if (HAL_TIM_OC_Init(&htim2) != HAL_OK) {
		_Error_Handler(__FILE__, __LINE__);
	}

	sMasterConfig.MasterOutputTrigger = TIM_TRGO_RESET;
	sMasterConfig.MasterSlaveMode = TIM_MASTERSLAVEMODE_DISABLE;
	if (HAL_TIMEx_MasterConfigSynchronization(&htim2, &sMasterConfig)
			!= HAL_OK) {
		_Error_Handler(__FILE__, __LINE__);
	}

	sConfigOC.OCMode = TIM_OCMODE_TIMING;
	sConfigOC.Pulse = 250;
	sConfigOC.OCPolarity = TIM_OCPOLARITY_HIGH;
	sConfigOC.OCFastMode = TIM_OCFAST_DISABLE;
	if (HAL_TIM_OC_ConfigChannel(&htim2, &sConfigOC, TIM_CHANNEL_1) != HAL_OK) {
		_Error_Handler(__FILE__, __LINE__);
	}

}

/* TIM3 init function */
static void MX_TIM3_Init(void) {

	TIM_ClockConfigTypeDef sClockSourceConfig;
	TIM_MasterConfigTypeDef sMasterConfig;
	TIM_OC_InitTypeDef sConfigOC;

	htim3.Instance = TIM3;
	htim3.Init.Prescaler = 2;
	htim3.Init.CounterMode = TIM_COUNTERMODE_UP;
	htim3.Init.Period = 1000;
	htim3.Init.ClockDivision = TIM_CLOCKDIVISION_DIV1;
	htim3.Init.AutoReloadPreload = TIM_AUTORELOAD_PRELOAD_DISABLE;
	if (HAL_TIM_Base_Init(&htim3) != HAL_OK) {
		_Error_Handler(__FILE__, __LINE__);
	}

	sClockSourceConfig.ClockSource = TIM_CLOCKSOURCE_INTERNAL;
	if (HAL_TIM_ConfigClockSource(&htim3, &sClockSourceConfig) != HAL_OK) {
		_Error_Handler(__FILE__, __LINE__);
	}

	if (HAL_TIM_PWM_Init(&htim3) != HAL_OK) {
		_Error_Handler(__FILE__, __LINE__);
	}

	sMasterConfig.MasterOutputTrigger = TIM_TRGO_RESET;
	sMasterConfig.MasterSlaveMode = TIM_MASTERSLAVEMODE_DISABLE;
	if (HAL_TIMEx_MasterConfigSynchronization(&htim3, &sMasterConfig)
			!= HAL_OK) {
		_Error_Handler(__FILE__, __LINE__);
	}

	sConfigOC.OCMode = TIM_OCMODE_PWM1;
	sConfigOC.Pulse = 250;
	sConfigOC.OCPolarity = TIM_OCPOLARITY_HIGH;
	sConfigOC.OCFastMode = TIM_OCFAST_DISABLE;
	if (HAL_TIM_PWM_ConfigChannel(&htim3, &sConfigOC, TIM_CHANNEL_1)
			!= HAL_OK) {
		_Error_Handler(__FILE__, __LINE__);
	}

	sConfigOC.Pulse = 500;
	if (HAL_TIM_PWM_ConfigChannel(&htim3, &sConfigOC, TIM_CHANNEL_2)
			!= HAL_OK) {
		_Error_Handler(__FILE__, __LINE__);
	}

	sConfigOC.Pulse = 100;
	if (HAL_TIM_PWM_ConfigChannel(&htim3, &sConfigOC, TIM_CHANNEL_3)
			!= HAL_OK) {
		_Error_Handler(__FILE__, __LINE__);
	}

	sConfigOC.Pulse = 750;
	if (HAL_TIM_PWM_ConfigChannel(&htim3, &sConfigOC, TIM_CHANNEL_4)
			!= HAL_OK) {
		_Error_Handler(__FILE__, __LINE__);
	}

	HAL_TIM_MspPostInit(&htim3);

}

/* USART1 init function */
static void MX_USART1_UART_Init(void) {

	huart1.Instance = USART1;
	huart1.Init.BaudRate = 115200;
	huart1.Init.WordLength = UART_WORDLENGTH_8B;
	huart1.Init.StopBits = UART_STOPBITS_1;
	huart1.Init.Parity = UART_PARITY_NONE;
	huart1.Init.Mode = UART_MODE_TX_RX;
	huart1.Init.HwFlowCtl = UART_HWCONTROL_NONE;
	huart1.Init.OverSampling = UART_OVERSAMPLING_16;
	if (HAL_UART_Init(&huart1) != HAL_OK) {
		_Error_Handler(__FILE__, __LINE__);
	}

}

/* USART2 init function */
static void MX_USART2_UART_Init(void) {

	huart2.Instance = USART2;
	huart2.Init.BaudRate =38400;
	huart2.Init.WordLength = UART_WORDLENGTH_8B;
	huart2.Init.StopBits = UART_STOPBITS_1;
	huart2.Init.Parity = UART_PARITY_NONE;
	huart2.Init.Mode = UART_MODE_TX_RX;
	huart2.Init.HwFlowCtl = UART_HWCONTROL_NONE;
	huart2.Init.OverSampling = UART_OVERSAMPLING_16;
	if (HAL_UART_Init(&huart2) != HAL_OK) {
		_Error_Handler(__FILE__, __LINE__);
	}

}

/* USART3 init function */
static void MX_USART3_UART_Init(void) {

	huart3.Instance = USART3;
	huart3.Init.BaudRate = 115200;
	huart3.Init.WordLength = UART_WORDLENGTH_8B;
	huart3.Init.StopBits = UART_STOPBITS_1;
	huart3.Init.Parity = UART_PARITY_NONE;
	huart3.Init.Mode = UART_MODE_TX_RX;
	huart3.Init.HwFlowCtl = UART_HWCONTROL_NONE;
	huart3.Init.OverSampling = UART_OVERSAMPLING_16;
	if (HAL_UART_Init(&huart3) != HAL_OK) {
		_Error_Handler(__FILE__, __LINE__);
	}

}

/** Configure pins as
 * Analog
 * Input
 * Output
 * EVENT_OUT
 * EXTI
 */
static void MX_GPIO_Init(void) {

	GPIO_InitTypeDef GPIO_InitStruct;

	/* GPIO Ports Clock Enable */
	__HAL_RCC_GPIOD_CLK_ENABLE()
	;
	__HAL_RCC_GPIOA_CLK_ENABLE()
	;
	__HAL_RCC_GPIOB_CLK_ENABLE()
	;

	/*Configure GPIO pin Output Level */
	HAL_GPIO_WritePin(GPIOB, GPIO_PIN_14, GPIO_PIN_RESET);

	/*Configure GPIO pin : PB14 */
	GPIO_InitStruct.Pin = GPIO_PIN_14;
	GPIO_InitStruct.Mode = GPIO_MODE_OUTPUT_PP;
	GPIO_InitStruct.Pull = GPIO_NOPULL;
	GPIO_InitStruct.Speed = GPIO_SPEED_FREQ_LOW;
	HAL_GPIO_Init(GPIOB, &GPIO_InitStruct);

}

void _Error_Handler(char *file, int line) {
	while (1) {
	}
}

/************************ (C) COPYRIGHT STMicroelectronics *****END OF FILE****/
